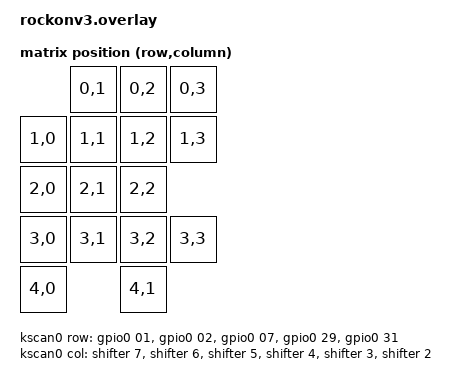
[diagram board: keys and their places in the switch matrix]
#include <dt-bindings/zmk/matrix_transform.h>


// Tell VIK that there is 1 other device on the SPI bus.
// You will need to increase this number if you add another SPI device.
#define VIK_SPI_REG_START 1
// Pulled out to an external variable so VIK can find the SPI bus.
#define VIK_SPI_CS_PREFIX <&gpio0 17 GPIO_ACTIVE_LOW>

&spi1 {
    status = "okay";
    cs-gpios = VIK_SPI_CS_PREFIX;

    shifter: 595@0 {
        compatible = "zmk,gpio-595";
        status = "okay";
        gpio-controller;
        spi-max-frequency = <200000>;
        reg = <0>;
        ngpios = <16>;
        #gpio-cells = <2>;
    };
};


/ {
	chosen {
		zmk,kscan = &kscan0;
		zmk,matrix-transform = &default_transform;
	};

	kscan0: kscan_0 {
		compatible = "zmk,kscan-gpio-matrix";
		diode-direction = "col2row";
		
		col-gpios
            = <&shifter 7 GPIO_ACTIVE_HIGH> // COL0
            , <&shifter 6 GPIO_ACTIVE_HIGH> // COL1
            , <&shifter 5 GPIO_ACTIVE_HIGH> // COL2
            , <&shifter 4 GPIO_ACTIVE_HIGH> // COL3
            , <&shifter 3 GPIO_ACTIVE_HIGH> // COL4
            , <&shifter 2 GPIO_ACTIVE_HIGH> // COL5
            ;
		row-gpios =
			<&gpio0 01 (GPIO_ACTIVE_HIGH | GPIO_PULL_DOWN)>,
			<&gpio0 02 (GPIO_ACTIVE_HIGH | GPIO_PULL_DOWN)>,
			<&gpio0 07 (GPIO_ACTIVE_HIGH | GPIO_PULL_DOWN)>,
			<&gpio0 29 (GPIO_ACTIVE_HIGH | GPIO_PULL_DOWN)>,
			<&gpio0 31 (GPIO_ACTIVE_HIGH | GPIO_PULL_DOWN)>;
	};

   default_transform: matrix_transform {
        compatible = "zmk,matrix-transform";
        rows = <5>;
        columns = <14>;
        map = <
                    RC(0,1) RC(0,2) RC(0,3) 
            RC(1,0) RC(1,1) RC(1,2) RC(1,3)
            RC(2,0) RC(2,1) RC(2,2)
            RC(3,0) RC(3,1) RC(3,2) RC(3,3)
            RC(4,0)         RC(4,1)
        >;
    };
};



